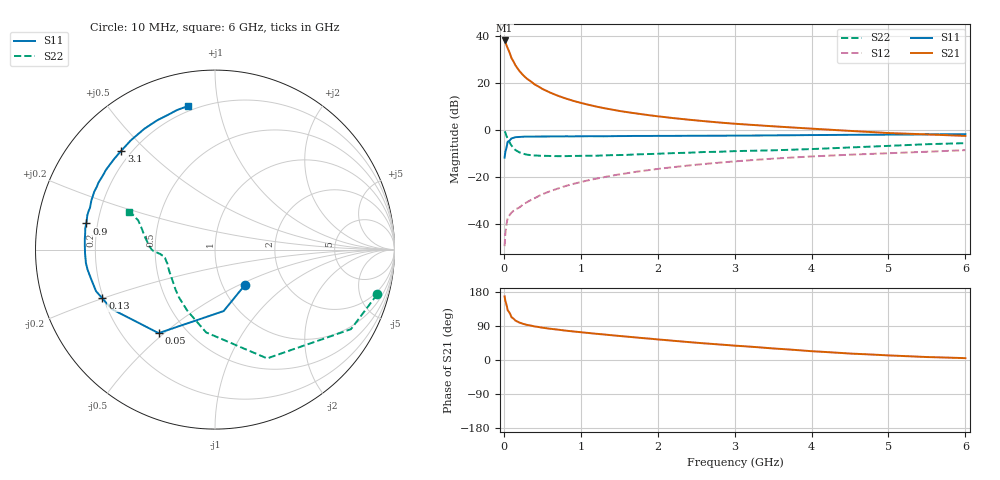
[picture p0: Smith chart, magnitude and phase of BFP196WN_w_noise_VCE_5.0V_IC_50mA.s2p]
! Infineon Technologies  Discrete & RF Semiconductors
! BFP196WN
! VCE =  5.0 V,  IC =  50 mA
! Common Emitter S-Parameters:  Jan 2017
# GHz  S  MA  R  50
!  f  S11  S21  S12  S22
! GHz  MAG  ANG  MAG  ANG  MAG  ANG  MAG  ANG
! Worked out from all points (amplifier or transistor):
!   77 points, 10 MHz to 6 GHz, reference 50 ohm
!   highest |S21| = 38.2 dB at 10 MHz (marker M1)
!   |S21| within 3 dB of that: start of sweep to 46.1 MHz
!   unconditionally stable (mu >= 1): 630.7 MHz to 2.672 GHz
!   at 130 MHz: K = 0.55, MSG = 31.7 dB, |S12| = -34.4 dB
!   at 2.2 GHz: K = 1.02, MAG = 9.6 dB, |S12| = -15.9 dB
!   at 6 GHz: K = 0.91, MSG = 3.0 dB, |S12| = -8.6 dB
!   lowest NFmin = 1.27 dB at 450 MHz
!   S11 on the Smith chart (normalised r, x): 10 MHz: 1.28, -0.53; 50 MHz: 0.35, -0.48; 130 MHz: 0.20, -0.20; 900 MHz: 0.16, +0.10; 3.1 GHz: 0.16, +0.42; 6 GHz: 0.17, +0.82
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0.01  0.2577 -49.1  81.74 168.0  0.0033 78.2  0.9377 -15.4
0.02  0.3458 -82.0  75.2 155.8  0.0063 74.0  0.878 -30.3
0.05  0.5615 -124.0  55.95 131.2  0.0132 54.3  0.6723 -64.4
0.1  0.6634 -150.0  34.22 112.7  0.0172 49.0  0.464 -96.1
0.13  0.6838 -156.6  28.08 108.3  0.019 49.4  0.4044 -106.2
0.15  0.7021 -160.7  24.12 104.1  0.0202 49.7  0.3733 -114.5
0.2  0.7099 -167.0  18.41 99.0  0.022 51.9  0.3341 -126.8
0.25  0.7185 -170.9  14.87 95.4  0.0257 56.0  0.3124 -134.9
0.3  0.7231 -174.1  12.46 92.7  0.0287 58.1  0.2969 -141.6
0.4  0.7244 -178.5  9.425 88.5  0.0349 62.4  0.2855 -149.8
0.5  0.7257 178.1  7.559 85.3  0.0424 64.2  0.2812 -155.5
0.6  0.7277 175.4  6.315 82.5  0.0492 66.2  0.2788 -159.9
0.7  0.7288 173.0  5.406 80.2  0.0559 67.7  0.2762 -162.7
0.9  0.7316 168.5  4.206 75.4  0.0704 67.9  0.2791 -166.5
1.1  0.7366 164.9  3.457 71.3  0.0844 68.3  0.2813 -169.5
1.3  0.7346 161.4  2.932 67.4  0.0981 67.9  0.2862 -171.0
1.5  0.7417 158.1  2.555 63.5  0.1123 66.8  0.2915 -173.3
2.1  0.7485 148.5  1.879 52.6  0.154 63.1  0.3155 -176.3
3.1  0.7588 133.5  1.327 36.6  0.2195 55.2  0.3565 179.1
4.1  0.7809 119.1  1.045 22.1  0.2769 46.8  0.3974 169.5
5.1  0.797 108.4  0.849 11.3  0.3237 39.2  0.4656 158.7
6  0.8142 100.6  0.747 4.9  0.371 33.3  0.5235 156.2
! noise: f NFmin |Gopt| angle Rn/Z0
0.45  1.27  0.53  -177  0.05
0.9  1.39  0.56  -171  0.05
1.9  2.33  0.69  -148  0.16
2.4  3.05  0.7  -140  0.28
